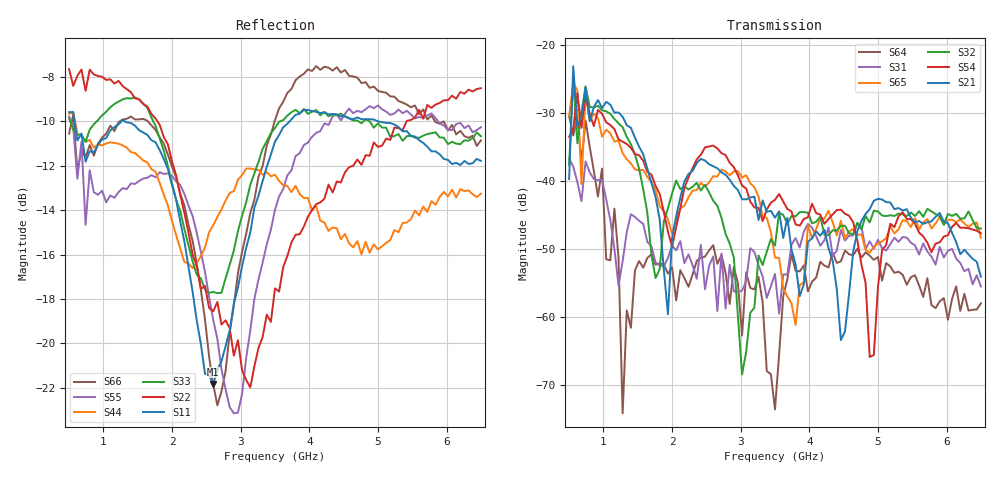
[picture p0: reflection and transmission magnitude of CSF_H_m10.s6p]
!Keysight Technologies,M9804A,MY58100912,A.14.10.03
!Date: Thursday, April 27, 2023 10:28:33
!Correction: S11(C  6-Port  )
!S12(C  6-Port  )
!S13(C  6-Port  )
!S14(C  6-Port  )
!S15(C  6-Port  )
!S16(C  6-Port  )
!S21(C  6-Port  )
!S22(C  6-Port  )
!S23(C  6-Port  )
!S24(C  6-Port  )
!S25(C  6-Port  )
!S26(C  6-Port  )
!S31(C  6-Port  )
!S32(C  6-Port  )
!S33(C  6-Port  )
!S34(C  6-Port  )
!S35(C  6-Port  )
!S36(C  6-Port  )
!S41(C  6-Port  )
!S42(C  6-Port  )
!S43(C  6-Port  )
!S44(C  6-Port  )
!S45(C  6-Port  )
!S46(C  6-Port  )
!S51(C  6-Port  )
!S52(C  6-Port  )
!S53(C  6-Port  )
!S54(C  6-Port  )
!S55(C  6-Port  )
!S56(C  6-Port  )
!S61(C  6-Port  )
!S62(C  6-Port  )
!S63(C  6-Port  )
!S64(C  6-Port  )
!S65(C  6-Port  )
!S66(C  6-Port  )
!S6P File: Measurement: :
# Hz S  RI  R 50
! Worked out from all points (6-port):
!   101 points, 500 MHz to 6.5 GHz, reference 50 ohm
!   strongest paths, dB at 500 MHz, 2 GHz, 3.5 GHz, 5 GHz, 6.5 GHz:
!     S21: -39.7, -48.4, -45.4, -42.6, -54.0
!     S54: -33.5, -49.6, -42.7, -55.6, -47.6
!     S32: -37.6, -41.8, -49.5, -44.4, -47.0
!     S65: -30.4, -47.7, -51.2, -49.1, -48.3
!     S31: -36.7, -49.5, -53.6, -48.6, -55.5
!     S64: -30.4, -52.6, -73.5, -51.1, -58.0
!   lowest |S11| = -21.8 dB at 2.6 GHz (marker M1), VSWR 1.18, Z = 42.7 + j1.97 ohm
!   |S11| at or under -10 dB: 579.8 MHz to 1.261 GHz (680.7 MHz wide, 74 % of centre); 1.316 GHz to 3.711 GHz (2.395 GHz wide, 95.3 % of centre); 5.01 GHz to end of sweep
